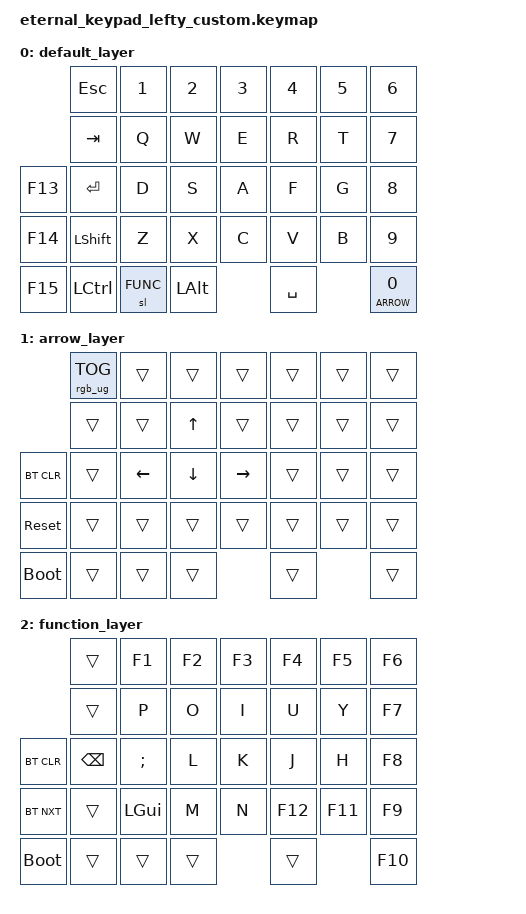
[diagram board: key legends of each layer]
/*
 * Copyright (c) 2020 The ZMK Contributors
 *
 * SPDX-License-Identifier: MIT
 */

#include <behaviors.dtsi>
#include <dt-bindings/zmk/keys.h>
#include <dt-bindings/zmk/bt.h>
#include <dt-bindings/zmk/rgb.h>

#define BASE        0
#define ARROW       1
#define FUNC        2

/ {
    chosen {
        zmk,kscan = &kscan0;
        zmk,matrix_transform = &default_transform;
    };

  keymap {
    compatible = "zmk,keymap";

    default_layer {
      bindings = <
                    &kp ESC   &kp N1    &kp N2   &kp N3    &kp N4    &kp N5  &kp N6
                    &kp TAB   &kp Q     &kp W    &kp E     &kp R     &kp T   &kp N7
        &kp F13     &kp ENTER &kp D     &kp S    &kp A     &kp F     &kp G   &kp N8
        &kp F14     &kp LSHFT &kp Z     &kp X    &kp C     &kp V     &kp B   &kp N9
        &kp F15     &kp LCTRL &sl FUNC  &kp LALT           &kp SPACE         &lt ARROW N0
      >;
    };

    arrow_layer {
      bindings = <
                    &rgb_ug RGB_TOG &trans    &trans   &trans    &trans    &trans  &trans
                    &trans          &trans    &kp UP   &trans    &trans    &trans  &trans
        &bt BT_CLR  &trans          &kp LEFT  &kp DOWN &kp RIGHT &trans    &trans  &trans
        &sys_reset  &trans          &trans    &trans   &trans    &trans    &trans  &trans
        &bootloader &trans          &trans    &trans             &trans            &trans
      >;
    };

    function_layer {
      bindings = <
                    &trans    &kp F1    &kp F2   &kp F3    &kp F4   &kp F5   &kp F6
                    &trans    &kp P     &kp O    &kp I     &kp U    &kp Y    &kp F7
        &bt BT_CLR  &kp BSPC  &kp SEMI  &kp L    &kp K     &kp J    &kp H    &kp F8
        &bt BT_NXT  &trans    &kp LGUI  &kp M    &kp N     &kp F12  &kp F11  &kp F9
        &bootloader &trans    &trans    &trans             &trans            &kp F10
      >;
    };
  };
};
